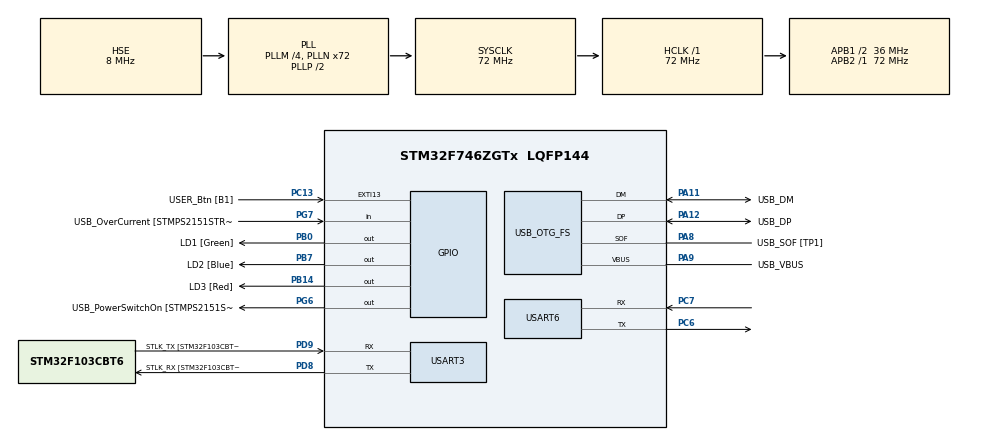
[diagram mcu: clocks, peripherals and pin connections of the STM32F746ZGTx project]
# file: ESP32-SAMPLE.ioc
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Mcu.Family=STM32F7
Mcu.Name=STM32F746ZGTx
Mcu.Package=LQFP144
NVIC.PriorityGroup=NVIC_PRIORITYGROUP_4
PA1.GPIO_Label=RMII_REF_CLK [LAN8742A-CZ-TR_REFCLK0]
PA1.Signal=ETH_REF_CLK
PA10.GPIO_Label=USB_ID
PA10.Signal=USB_OTG_FS_ID
PA11.GPIO_Label=USB_DM
PA11.Mode=Device_Only
PA11.Signal=USB_OTG_FS_DM
PA12.GPIO_Label=USB_DP
PA12.Mode=Device_Only
PA12.Signal=USB_OTG_FS_DP
PA13.GPIO_Label=TMS
PA13.Mode=Serial_Wire
PA13.Signal=SYS_JTMS-SWDIO
PA14.GPIO_Label=TCK
PA14.Mode=Serial_Wire
PA14.Signal=SYS_JTCK-SWCLK
PA2.GPIO_Label=RMII_MDIO [LAN8742A-CZ-TR_MDIO]
PA2.Signal=ETH_MDIO
PA7.GPIO_Label=RMII_CRS_DV [LAN8742A-CZ-TR_CRS_DV]
PA7.Signal=ETH_CRS_DV
PA8.GPIO_Label=USB_SOF [TP1]
PA8.Mode=Activate_SOF_FS
PA8.Signal=USB_OTG_FS_SOF
PA9.GPIO_Label=USB_VBUS
PA9.Mode=Activate_VBUS
PA9.Signal=USB_OTG_FS_VBUS
PB0.GPIO_Label=LD1 [Green]
PB0.Signal=GPIO_Output
PB13.GPIO_Label=RMII_TXD1 [LAN8742A-CZ-TR_TXD1]
PB13.Signal=ETH_TXD1
PB14.GPIO_Label=LD3 [Red]
PB14.Signal=GPIO_Output
PB3.GPIO_Label=SW0
PB3.Signal=SYS_JTDO-SWO
PB7.GPIO_Label=LD2 [Blue]
PB7.Signal=GPIO_Output
PC1.GPIO_Label=RMII_MDC [LAN8742A-CZ-TR_MDC]
PC1.Signal=ETH_MDC
PC13.GPIO_Label=USER_Btn [B1]
PC13.Signal=GPXTI13
PC14/OSC32_IN.Mode=LSE-External-Oscillator
PC14/OSC32_IN.Signal=RCC_OSC32_IN
PC15/OSC32_OUT.Mode=LSE-External-Oscillator
PC15/OSC32_OUT.Signal=RCC_OSC32_OUT
PC4.GPIO_Label=RMII_RXD0 [LAN8742A-CZ-TR_RXD0]
PC4.Signal=ETH_RXD0
PC5.GPIO_Label=RMII_RXD1 [LAN8742A-CZ-TR_RXD1]
PC5.Signal=ETH_RXD1
PC6.Mode=Asynchronous
PC6.Signal=USART6_TX
PC7.Mode=Asynchronous
PC7.Signal=USART6_RX
PD8.GPIO_Label=STLK_RX [STM32F103CBT6_PA3]
PD8.GPIO_PuPd=GPIO_PULLUP
PD8.Mode=Asynchronous
PD8.Signal=USART3_TX
PD9.GPIO_Label=STLK_TX [STM32F103CBT6_PA2]
PD9.GPIO_PuPd=GPIO_PULLUP
PD9.Mode=Asynchronous
PD9.Signal=USART3_RX
PG11.GPIO_Label=RMII_TX_EN [LAN8742A-CZ-TR_TXEN]
PG11.Signal=ETH_TX_EN
PG13.GPIO_Label=RMII_TXD0 [LAN8742A-CZ-TR_TXD0]
PG13.Signal=ETH_TXD0
PG6.GPIO_Label=USB_PowerSwitchOn [STMPS2151STR_EN]
PG6.Signal=GPIO_Output
PG7.GPIO_Label=USB_OverCurrent [STMPS2151STR_FAULT]
PG7.Signal=GPIO_Input
PH0/OSC_IN.GPIO_Label=MCO [STM32F103CBT6_PA8]
PH0/OSC_IN.Mode=HSE-External-Clock-Source
PH0/OSC_IN.Signal=RCC_OSC_IN
PH1/OSC_OUT.Mode=HSE-External-Clock-Source
PH1/OSC_OUT.Signal=RCC_OSC_OUT
ProjectManager.HeapSize=0x200
ProjectManager.StackSize=0x400
ProjectManager.TargetToolchain=STM32CubeIDE
RCC.48MHZClocksFreq_Value=24000000
RCC.AHBFreq_Value=72000000
RCC.APB1CLKDivider=RCC_HCLK_DIV2
RCC.APB1Freq_Value=36000000
RCC.APB1TimFreq_Value=72000000
RCC.APB2Freq_Value=72000000
RCC.APB2TimFreq_Value=72000000
RCC.CortexFreq_Value=72000000
RCC.HCLKFreq_Value=72000000
RCC.HSE_VALUE=8000000
RCC.HSI_VALUE=16000000
RCC.PLLM=4
RCC.PLLMUL=RCC_PLL_MUL9
RCC.PLLN=72
RCC.PLLQ=3
RCC.PRESCALERUSB=RCC_USBCLKSOURCE_PLL_DIV1_5
RCC.SYSCLKFreq_VALUE=72000000
RCC.SYSCLKSource=RCC_SYSCLKSOURCE_PLLCLK
RCC.SYSCLKSourceVirtual=RCC_SYSCLKSOURCE_PLLCLK
RCC.USBFreq_Value=48000000
RCC.VCOOutputFreq_Value=144000000
USART3.VirtualMode-Asynchronous=VM_ASYNC
USART6.VirtualMode-Asynchronous=VM_ASYNC
USB_OTG_FS.VirtualMode=Device_Only
board=NUCLEO-F746ZG

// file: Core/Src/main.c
/* USER CODE BEGIN Header */
/**
  ******************************************************************************
  * @file           : main.c
  * @brief          : Main program body
  ******************************************************************************
  * @attention
  *
  * Copyright (c) 2025 STMicroelectronics.
  * All rights reserved.
  *
  * This software is licensed under terms that can be found in the LICENSE file
  * in the root directory of this software component.
  * If no LICENSE file comes with this software, it is provided AS-IS.
  *
  ******************************************************************************
  */
/* USER CODE END Header */
#include "main.h"
#include "usart.h"
#include "usb_otg.h"
#include "gpio.h"
#include <string.h>

void SystemClock_Config(void);

/* USER CODE BEGIN 0 */
/*----------- AT-command helper --------------*/
#define AT_RX_TIMEOUT 1000
char cmdBuf[64];

HAL_StatusTypeDef ESP_SendCmd(const char *cmd, uint32_t timeout)
{
	   // 1) Flush any old data out of the ESP32 Rx FIFO
	    __HAL_UART_FLUSH_DRREGISTER(&huart6);

	    // 2) Echo the exact command we’re about to send to the PC (so you can see it)
	    HAL_UART_Transmit(&huart3, (uint8_t*)cmd, strlen(cmd), HAL_MAX_DELAY);

	    // 3) Send the AT command over UART6 to the ESP32
	    HAL_UART_Transmit(&huart6, (uint8_t*)cmd, strlen(cmd), HAL_MAX_DELAY);

	    // 4) Now collect *all* bytes the ESP32 replies with (up to `timeout`) into a buffer
	    uint32_t start = HAL_GetTick();
	    uint8_t  respBuf[256];
	    size_t   rlen = 0;

	    while ((HAL_GetTick() - start) < timeout && rlen < sizeof(respBuf)-1) {
	        uint8_t c;
	        // give each byte up to 20 ms to arrive
	        if (HAL_UART_Receive(&huart6, &c, 1, 20) == HAL_OK) {
	            respBuf[rlen++] = c;
	            start = HAL_GetTick();  // reset our timeout on each new byte
	        }
	    }
	    respBuf[rlen] = '\0';

	    // 5) Dump the *entire* response back to the PC in one go
	    if (rlen) {
	        HAL_UART_Transmit(&huart3, respBuf, rlen, HAL_MAX_DELAY);
	    }
	    return HAL_OK;
}
/*--------------------------------------------*/
uint8_t b;
/* USER CODE END 0 */

int main(void)
{

  /* MCU Configuration--------------------------------------------------------*/

  /* Reset of all peripherals, Initializes the Flash interface and the Systick. */
  HAL_Init();

  /* Configure the system clock */
  SystemClock_Config();

  /* Initialize all configured peripherals */
  MX_GPIO_Init();
  MX_USART3_UART_Init();
  MX_USB_OTG_FS_PCD_Init();
  MX_USART6_UART_Init();
  /* USER CODE BEGIN 2 */
  /* Give ESP32 time to boot */

  /* Give ESP32 time to boot ------------------------------------------------*/
     HAL_Delay(1500);

     /* 1) Basic AT test --------------------------------------------------------*/
     ESP_SendCmd("AT\r\n", AT_RX_TIMEOUT);

     /* 2) Reset module to clear previous state --------------------------------*/
     ESP_SendCmd("AT+RST\r\n", 2000);
     HAL_Delay(2000);

     /* 3) Set Wi-Fi to AP+STA mode (3) -----------------------------------------*/
     ESP_SendCmd("AT+CWMODE=3\r\n", AT_RX_TIMEOUT);
     ESP_SendCmd("AT+CWSAP=\"name\",\"123456789\",6,3,4,0\r\n", AT_RX_TIMEOUT);

     /* 5) Enable multiple connections -----------------------------------------*/
     ESP_SendCmd("AT+CIPMUX=1\r\n", AT_RX_TIMEOUT);

     /* 6) Start TCP server on port 5000 ---------------------------------------*/
     ESP_SendCmd("AT+CIPSERVER=1,5000\r\n", AT_RX_TIMEOUT);
  /* USER CODE END 2 */

  /* Infinite loop */
  while (1)
  {
	  // b) Receive inbound TCP data from ESP32 and parse
	          char recvBuf[128] = {0};
	          size_t rcvLen = 0;
	          uint32_t t0 = HAL_GetTick();
	          while ((HAL_GetTick() - t0) < 1000 && rcvLen < sizeof(recvBuf)-1) {
	              uint8_t ch;
	              if (HAL_UART_Receive(&huart6, &ch, 1, 50) == HAL_OK) {
	                  HAL_UART_Transmit(&huart3, &ch, 1, HAL_MAX_DELAY);
	                  recvBuf[rcvLen++] = ch;
	                  t0 = HAL_GetTick();
	              }
	          }
	          recvBuf[rcvLen] = '\0';

	          // c) If specific letter or keyword found, send a response
	          if (strstr(recvBuf, "PING") != NULL) {
	              const char *resp = "PONG from STM32!\r\n";
	              sprintf(cmdBuf, "AT+CIPSEND=0,%u\r\n", (unsigned)strlen(resp));
	              ESP_SendCmd(cmdBuf, AT_RX_TIMEOUT);
	              HAL_UART_Transmit(&huart6, (uint8_t*)resp, strlen(resp), HAL_MAX_DELAY);
	          }

	          HAL_Delay(500);
  }
}

void SystemClock_Config(void)
{
  RCC_OscInitTypeDef RCC_OscInitStruct = {0};
  RCC_ClkInitTypeDef RCC_ClkInitStruct = {0};

  /** Configure LSE Drive Capability
  */
  HAL_PWR_EnableBkUpAccess();

  /** Configure the main internal regulator output voltage
  */
  __HAL_RCC_PWR_CLK_ENABLE();
  __HAL_PWR_VOLTAGESCALING_CONFIG(PWR_REGULATOR_VOLTAGE_SCALE3);

  /** Initializes the RCC Oscillators according to the specified parameters
  * in the RCC_OscInitTypeDef structure.
  */
  RCC_OscInitStruct.OscillatorType = RCC_OSCILLATORTYPE_HSE;
  RCC_OscInitStruct.HSEState = RCC_HSE_BYPASS;
  RCC_OscInitStruct.PLL.PLLState = RCC_PLL_ON;
  RCC_OscInitStruct.PLL.PLLSource = RCC_PLLSOURCE_HSE;
  RCC_OscInitStruct.PLL.PLLM = 4;
  RCC_OscInitStruct.PLL.PLLN = 72;
  RCC_OscInitStruct.PLL.PLLP = RCC_PLLP_DIV2;
  RCC_OscInitStruct.PLL.PLLQ = 3;
  if (HAL_RCC_OscConfig(&RCC_OscInitStruct) != HAL_OK)
  {
    Error_Handler();
  }

  /** Initializes the CPU, AHB and APB buses clocks
  */
  RCC_ClkInitStruct.ClockType = RCC_CLOCKTYPE_HCLK|RCC_CLOCKTYPE_SYSCLK
                              |RCC_CLOCKTYPE_PCLK1|RCC_CLOCKTYPE_PCLK2;
  RCC_ClkInitStruct.SYSCLKSource = RCC_SYSCLKSOURCE_PLLCLK;
  RCC_ClkInitStruct.AHBCLKDivider = RCC_SYSCLK_DIV1;
  RCC_ClkInitStruct.APB1CLKDivider = RCC_HCLK_DIV2;
  RCC_ClkInitStruct.APB2CLKDivider = RCC_HCLK_DIV1;

  if (HAL_RCC_ClockConfig(&RCC_ClkInitStruct, FLASH_LATENCY_2) != HAL_OK)
  {
    Error_Handler();
  }
}

void Error_Handler(void)
{
  __disable_irq();
  while (1)
  {
  }
}
